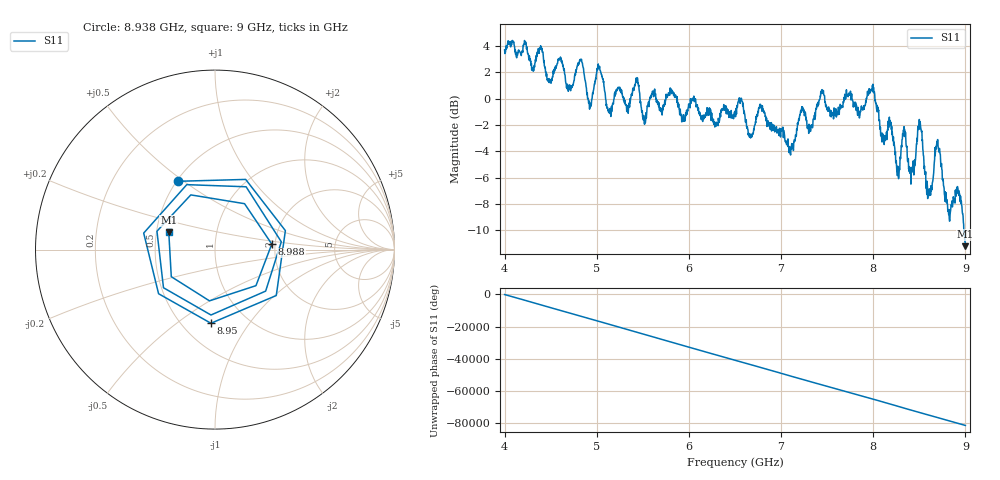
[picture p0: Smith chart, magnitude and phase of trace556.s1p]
! Created with skrf 1.8.0 (http://scikit-rf.org).
# Hz S RI R 50.0
!freq ReS11 ImS11
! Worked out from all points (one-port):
!   1601 points, 4 GHz to 9 GHz, reference 50 ohm
!   lowest |S11| = -11.2 dB at 9 GHz (marker M1), VSWR 1.76, Z = 29 + j6.1 ohm
!   |S11| at or under -10 dB: 8.982725 GHz to 8.987524 GHz (4.799 MHz wide, 0.0534 % of centre); 8.988353 GHz to end of sweep
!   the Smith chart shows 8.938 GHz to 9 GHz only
!   S11 on the Smith chart (normalised r, x): 8.938 GHz: 0.51, +0.48; 8.95 GHz: 0.68, -0.68; 8.988 GHz: 1.92, +0.13; 9 GHz: 0.58, +0.12
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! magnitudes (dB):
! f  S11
! 4 GHz  3.7
! 4.625 GHz  2.8
! 4.709 GHz  0.8
! 4.831 GHz  2.9
! 4.925 GHz  -0.5
! 5.019 GHz  2.4
! 5.131 GHz  -1.0
! 5.25 GHz  0.9
! 5.438 GHz  1.6
! 5.512 GHz  -1.6
! 5.875 GHz  -0.2
! 6.5 GHz  -1.2
! 7.125 GHz  -3.4
! 7.225 GHz  -0.6
! 7.75 GHz  0.3
! 7.991 GHz  1.0
! 8.262 GHz  -5.8
! 8.328 GHz  -2.4
! 8.375 GHz  -4.8
! 8.434 GHz  -4.7
! 8.506 GHz  -1.8
! 8.597 GHz  -7.3
! 8.7 GHz  -3.1
! 8.812 GHz  -8.5
! 8.938 GHz  -7.3
! 8.95 GHz  -7.7
! 8.988 GHz  -10.0
! 9 GHz  -11.2
